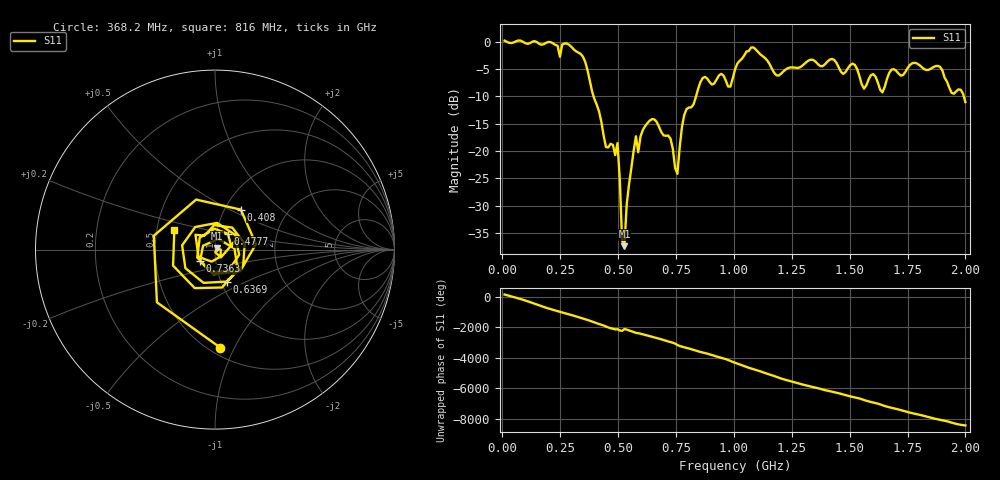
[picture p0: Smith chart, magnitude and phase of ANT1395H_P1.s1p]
!Created with skrf (http://scikit-rf.org).
# Hz S RI R 50.0
!freq ReS11 ImS11
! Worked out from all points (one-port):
!   201 points, 10 MHz to 2 GHz, reference 50 ohm
!   lowest |S11| = -37.4 dB at 527.4 MHz (marker M1), VSWR 1.03, Z = 51.1 + j0.841 ohm
!   |S11| at or under -10 dB: 394.3 MHz to 836.8 MHz (442.5 MHz wide, 71.9 % of centre); 1.993113 GHz to end of sweep
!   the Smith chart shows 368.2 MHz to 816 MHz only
!   S11 on the Smith chart (normalised r, x): 368.2 MHz: 0.56, -0.88; 408 MHz: 1.19, +0.57; 477.6 MHz: 1.14, +0.20; 636.9 MHz: 1.07, -0.39; 736.4 MHz: 0.84, -0.11; 816 MHz: 0.62, +0.14
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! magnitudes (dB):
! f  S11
! 10 MHz  0.2
! 258.8 MHz  -0.5
! 368.2 MHz  -5.2
! 408 MHz  -11.5
! 447.8 MHz  -19.3
! 477.6 MHz  -18.9
! 497.6 MHz  -18.6
! 507.5 MHz  -25.2
! 517.5 MHz  -36.4
! 527.4 MHz  -37.4
! 537.4 MHz  -29.8
! 577.1 MHz  -17.3
! 587.1 MHz  -20.2
! 636.9 MHz  -14.4
! 736.4 MHz  -19.6
! 756.2 MHz  -24.2
! 786.1 MHz  -13.4
! 816 MHz  -12.0
! 865.7 MHz  -6.6
! 985.1 MHz  -8.2
! 1.005 GHz  -5.1
! 1.075 GHz  -1.0
! 1.254 GHz  -4.7
! 1.502 GHz  -4.3
! 1.642 GHz  -9.3
! 1.751 GHz  -4.8
! 1.891 GHz  -4.6
! 2 GHz  -11.0
